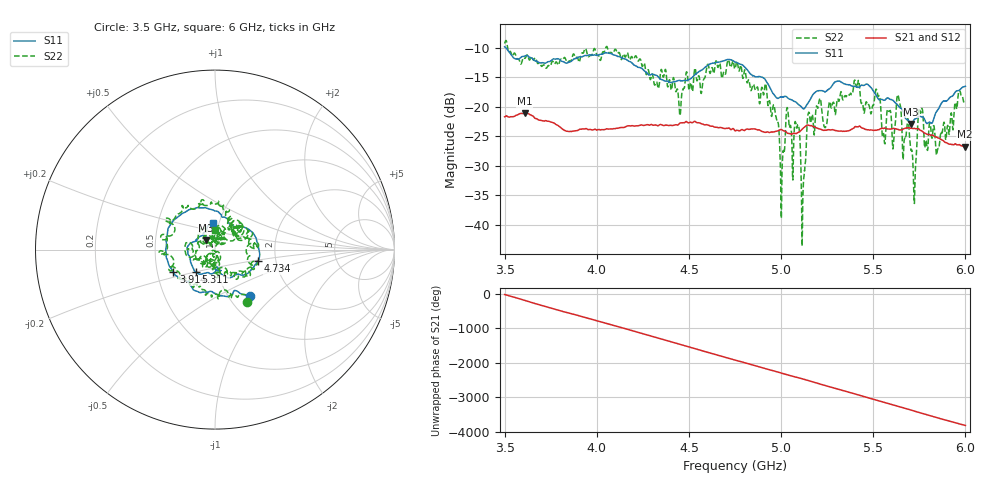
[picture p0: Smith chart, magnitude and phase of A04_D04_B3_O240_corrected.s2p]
! Created with skrf 1.9.0 (http://scikit-rf.org).
# Hz S RI R 50.0
!freq ReS11 ImS11 ReS21 ImS21 ReS12 ImS12 ReS22 ImS22
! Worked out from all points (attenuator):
!   1601 points, 3.5 GHz to 6 GHz, reference 50 ohm
!   highest |S21| = -21.08 dB at 3.609 GHz (marker M1); lowest = -26.8 dB at 5.995 GHz (marker M2)
!   lowest |S11| = -22.9 dB at 5.705 GHz (marker M3), VSWR 1.15, Z = 45.1 + j4.67 ohm
!   |S11| at or under -10 dB: 3.506 GHz to end of sweep
!   |S22| runs from -43.6 to -8.8 dB; largest |S21 - S12| = 0.0011
!   S11 on the Smith chart (normalised r, x): 3.5 GHz: 1.25, -0.72; 3.914 GHz: 0.61, -0.17; 4.734 GHz: 1.61, -0.22; 5.311 GHz: 0.79, -0.20; 6 GHz: 0.94, +0.29
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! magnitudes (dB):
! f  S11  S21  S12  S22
! 3.5 GHz  -9.9  -21.7  -21.7  -9.3
! 3.609 GHz  -11.4  -21.1  -21.1  -11.8
! 3.914 GHz  -11.6  -23.8  -23.7  -11.3
! 3.917 GHz  -11.6  -23.8  -23.8  -11.0
! 4.334 GHz  -15.0  -23.2  -23.1  -16.9
! 4.734 GHz  -12.1  -23.8  -23.8  -12.7
! 4.75 GHz  -12.4  -24.1  -24.0  -13.6
! 4.923 GHz  -15.9  -24.2  -24.2  -17.9
! 5.006 GHz  -18.4  -23.9  -23.9  -29.8
! 5.034 GHz  -18.5  -24.5  -24.4  -20.2
! 5.088 GHz  -19.4  -24.4  -24.4  -23.4
! 5.119 GHz  -20.3  -23.7  -23.6  -34.9
! 5.167 GHz  -18.2  -23.2  -23.2  -21.4
! 5.311 GHz  -15.7  -24.1  -24.0  -19.0
! 5.584 GHz  -18.6  -23.7  -23.7  -20.7
! 5.639 GHz  -20.0  -23.9  -23.8  -18.6
! 5.705 GHz  -22.9  -23.7  -23.6  -27.3
! 5.723 GHz  -22.1  -23.7  -23.6  -36.4
! 5.756 GHz  -21.7  -24.0  -23.9  -21.1
! 5.85 GHz  -20.5  -25.3  -25.1  -27.1
! 5.995 GHz  -16.6  -26.8  -26.7  -19.4
! 6 GHz  -16.5  -26.8  -26.7  -19.3
